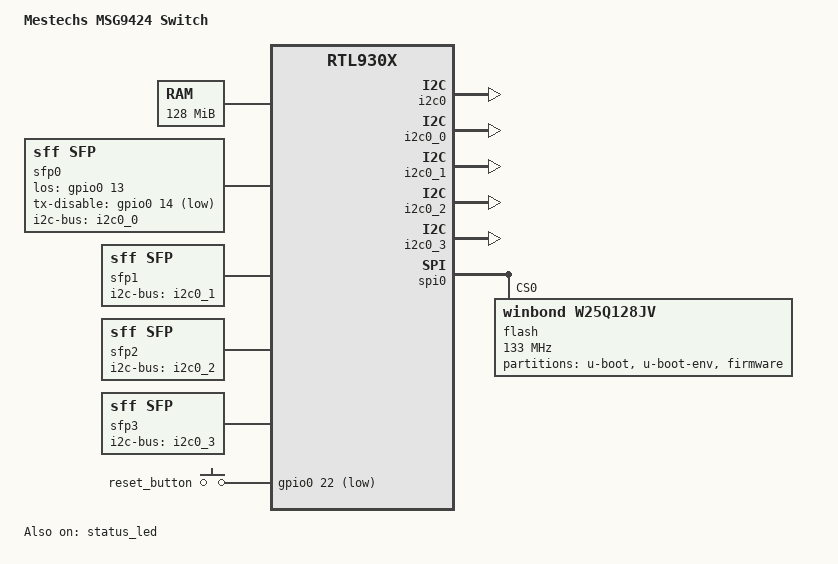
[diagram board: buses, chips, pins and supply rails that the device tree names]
// SPDX-License-Identifier: (GPL-2.0-or-later OR MIT)

/dts-v1/;

#include <dt-bindings/gpio/gpio.h>
#include <dt-bindings/leds/leds-realtek.h>

#include "rtl9301.dtsi"
#include "rtl9301_common_24p.dtsi"

/ {
	compatible = "mestechs,msg9424", "realtek,rtl9301-soc", "realtek,rtl930x-soc";
	model = "Mestechs MSG9424 Switch";

	led_set {
		compatible = "realtek,rtl9301-leds", "realtek,rtl930x-leds";

		led_set0 = /bits/ 16 <
			/* LED0 */
			(
				RTL93XX_LED_SET_LINK_ACTIVITY |
				RTL93XX_LED_SET_LINK_UP_SOLID |
				RTL93XX_LED_SET_2P_1G_LINK |
				RTL93XX_LED_SET_1000M_LINK |
				RTL93XX_LED_SET_500M_LINK |
				RTL93XX_LED_SET_100M_LINK |
				RTL93XX_LED_SET_10M_LINK
			)
			/* LED1 */
			RTL93XX_LED_SET_NONE
			/* LED2 */
			RTL93XX_LED_SET_NONE
			/* LED3 */
			RTL93XX_LED_SET_NONE
		>;
		led_set1 = /bits/ 16 <
			/* LED0 */
			(
				RTL93XX_LED_SET_LINK_ACTIVITY |
				RTL93XX_LED_SET_LINK_UP_SOLID |
				RTL93XX_LED_SET_10G_LINK |
				RTL93XX_LED_SET_1000M_LINK
			)
			/* LED1 */
			RTL93XX_LED_SET_NONE
			/* LED2 */
			RTL93XX_LED_SET_NONE
			/* LED3 */
			RTL93XX_LED_SET_NONE
		>;
	};

	memory@0 {
		reg = <0x0 0x8000000>; /* 128 MiB */
		device_type = "memory";
	};

	sfp0: sfp0 {
		compatible = "sff,sfp";
		i2c-bus = <&i2c0_0>;
		los-gpios = <&gpio0 13 GPIO_ACTIVE_HIGH>;
		tx-disable-gpios = <&gpio0 14 GPIO_ACTIVE_LOW>;
	};

	sfp1: sfp1 {
		compatible = "sff,sfp";
		i2c-bus = <&i2c0_1>;
//		los-gpios = <&gpio0 15 GPIO_ACTIVE_HIGH>;
//		tx-disable-gpios = <&gpio0 16 GPIO_ACTIVE_LOW>;
	};

	sfp2: sfp2 {
		compatible = "sff,sfp";
		i2c-bus = <&i2c0_2>;
//		los-gpios = <&gpio0 17 GPIO_ACTIVE_HIGH>;
//		tx-disable-gpios = <&gpio0 18 GPIO_ACTIVE_LOW>;
	};

	sfp3: sfp3 {
		compatible = "sff,sfp";
		i2c-bus = <&i2c0_3>;
//		los-gpios = <&gpio0 19 GPIO_ACTIVE_HIGH>;
//		tx-disable-gpios = <&gpio0 20 GPIO_ACTIVE_LOW>;
	};
};

&i2c0 {
	status = "okay";
};

&i2c0_0 {
	status = "okay";
};

&i2c0_1 {
	status = "okay";
};

&i2c0_2 {
	status = "okay";
};

&i2c0_3 {
	status = "okay";
};

&reset_button {
	gpios = <&gpio0 22 GPIO_ACTIVE_LOW>;

	status = "okay";
};

&spi0 {
	status = "okay";

	flash@0 {
		reg = <0>;
		compatible = "winbond,w25q128jv", "jedec,spi-nor";
		spi-max-frequency = <133000000>;

		partitions: partitions {
			compatible = "fixed-partitions";
			#address-cells = <1>;
			#size-cells = <1>;

			partition@0 {
				reg = <0x0 0xe0000>;
				label = "u-boot";
				read-only;
			};

			partition@e0000 {
				reg = <0xe0000 0x10000>;
				label = "u-boot-env";
			};

			partition@f0000 {
				reg = <0xf0000 0xf10000>;
				compatible = "openwrt,uimage", "denx,uimage";
				label = "firmware";
				openwrt,ih-magic = <0x93000000>;
			};
		};
	};
};

&status_led {
	status = "okay";
};

&switch0 {
	switch0_ports: ports {
		#address-cells = <1>;
		#size-cells = <0>;

		port@0 {
			reg = <0>;
			label = "lan1";
			led-num = <(
				RTL93XX_LED_NUM0 /* Lime */
			)>;
			led-set = <0>;
			phy-handle = <&phy0>;
			phy-mode = "qsgmii";
		};

		port@1 {
			reg = <1>;
			label = "lan2";
			led-num = <(
				RTL93XX_LED_NUM0 /* Lime */
			)>;
			led-set = <0>;
			phy-handle = <&phy1>;
			phy-mode = "qsgmii";
		};

		port@2 {
			reg = <2>;
			label = "lan3";
			led-num = <(
				RTL93XX_LED_NUM0 /* Lime */
			)>;
			led-set = <0>;
			phy-handle = <&phy2>;
			phy-mode = "qsgmii";
		};

		port@3 {
			reg = <3>;
			label = "lan4";
			led-num = <(
				RTL93XX_LED_NUM0 /* Lime */
			)>;
			led-set = <0>;
			phy-handle = <&phy3>;
			phy-mode = "qsgmii";
		};

		port@4 {
			reg = <4>;
			label = "lan5";
			led-num = <(
				RTL93XX_LED_NUM0 /* Lime */
			)>;
			led-set = <0>;
			phy-handle = <&phy4>;
			phy-mode = "qsgmii";
		};

		port@5 {
			reg = <5>;
			label = "lan6";
			led-num = <(
				RTL93XX_LED_NUM0 /* Lime */
			)>;
			led-set = <0>;
			phy-handle = <&phy5>;
			phy-mode = "qsgmii";
		};

		port@6 {
			reg = <6>;
			label = "lan7";
			led-num = <(
				RTL93XX_LED_NUM0 /* Lime */
			)>;
			led-set = <0>;
			phy-handle = <&phy6>;
			phy-mode = "qsgmii";
		};

		port@7 {
			reg = <7>;
			label = "lan8";
			led-num = <(
				RTL93XX_LED_NUM0 /* Lime */
			)>;
			led-set = <0>;
			phy-handle = <&phy7>;
			phy-mode = "qsgmii";
		};

		port@8 {
			reg = <8>;
			label = "lan9";
			led-num = <(
				RTL93XX_LED_NUM0 /* Lime */
			)>;
			led-set = <0>;
			phy-handle = <&phy8>;
			phy-mode = "xgmii";
		};

		port@9 {
			reg = <9>;
			label = "lan10";
			led-num = <(
				RTL93XX_LED_NUM0 /* Lime */
			)>;
			led-set = <0>;
			phy-handle = <&phy9>;
			phy-mode = "xgmii";
		};

		port@10 {
			reg = <10>;
			label = "lan11";
			led-num = <(
				RTL93XX_LED_NUM0 /* Lime */
			)>;
			led-set = <0>;
			phy-handle = <&phy10>;
			phy-mode = "xgmii";
		};

		port@11 {
			reg = <11>;
			label = "lan12";
			led-num = <(
				RTL93XX_LED_NUM0 /* Lime */
			)>;
			led-set = <0>;
			phy-handle = <&phy11>;
			phy-mode = "xgmii";
		};

		port@12 {
			reg = <12>;
			label = "lan13";
			led-num = <(
				RTL93XX_LED_NUM0 /* Lime */
			)>;
			led-set = <0>;
			phy-handle = <&phy12>;
			phy-mode = "xgmii";
		};

		port@13 {
			reg = <13>;
			label = "lan14";
			led-num = <(
				RTL93XX_LED_NUM0 /* Lime */
			)>;
			led-set = <0>;
			phy-handle = <&phy13>;
			phy-mode = "xgmii";
		};

		port@14 {
			reg = <14>;
			label = "lan15";
			led-num = <(
				RTL93XX_LED_NUM0 /* Lime */
			)>;
			led-set = <0>;
			phy-handle = <&phy14>;
			phy-mode = "xgmii";
		};

		port@15 {
			reg = <15>;
			label = "lan16";
			led-num = <(
				RTL93XX_LED_NUM0 /* Lime */
			)>;
			led-set = <0>;
			phy-handle = <&phy15>;
			phy-mode = "xgmii";
		};

		port@16 {
			reg = <16>;
			label = "lan17";
			led-num = <(
				RTL93XX_LED_NUM0 /* Lime */
			)>;
			led-set = <0>;
			phy-handle = <&phy16>;
			phy-mode = "xgmii";
		};

		port@17 {
			reg = <17>;
			label = "lan18";
			led-num = <(
				RTL93XX_LED_NUM0 /* Lime */
			)>;
			led-set = <0>;
			phy-handle = <&phy17>;
			phy-mode = "xgmii";
		};

		port@18 {
			reg = <18>;
			label = "lan19";
			led-num = <(
				RTL93XX_LED_NUM0 /* Lime */
			)>;
			led-set = <0>;
			phy-handle = <&phy18>;
			phy-mode = "xgmii";
		};

		port@19 {
			reg = <19>;
			label = "lan20";
			led-set = <0>;
			led-num = <(
				RTL93XX_LED_NUM0 /* Lime */
			)>;
			phy-handle = <&phy19>;
			phy-mode = "xgmii";
		};

		port@20 {
			reg = <20>;
			label = "lan21";
			led-num = <(
				RTL93XX_LED_NUM0 /* Lime */
			)>;
			led-set = <0>;
			phy-handle = <&phy20>;
			phy-mode = "xgmii";
		};

		port@21 {
			reg = <21>;
			label = "lan22";
			led-num = <(
				RTL93XX_LED_NUM0 /* Lime */
			)>;
			led-set = <0>;
			phy-handle = <&phy21>;
			phy-mode = "xgmii";
		};

		port@22 {
			reg = <22>;
			label = "lan23";
			led-num = <(
				RTL93XX_LED_NUM0 /* Lime */
			)>;
			led-set = <0>;
			phy-handle = <&phy22>;
			phy-mode = "xgmii";
		};

		port@23 {
			reg = <23>;
			label = "lan24";
			led-num = <(
				RTL93XX_LED_NUM0 /* Lime */
			)>;
			led-set = <0>;
			phy-handle = <&phy23>;
			phy-mode = "xgmii";
		};

		port@24 {
			reg = <24>;
			label = "lan25";
			led-num = <(
				RTL93XX_LED_NUM0 /* Lime */
			)>;
			led-set = <1>;
			phy-handle = <&phy24>;
			phy-mode = "10gbase-r";
			managed = "in-band-status";
			sfp = <&sfp0>;
		};

		port@25 {
			reg = <25>;
			label = "lan26";
			led-num = <(
				RTL93XX_LED_NUM0 /* Lime */
			)>;
			led-set = <1>;
			phy-handle = <&phy25>;
			phy-mode = "10gbase-r";
			managed = "in-band-status";
			sfp = <&sfp1>;
		};

		port@26 {
			reg = <26>;
			label = "lan27";
			led-num = <(
				RTL93XX_LED_NUM0 /* Lime */
			)>;
			led-set = <1>;
			phy-handle = <&phy26>;
			phy-mode = "10gbase-r";
			managed = "in-band-status";
			sfp = <&sfp2>;
		};

		port@27 {
			reg = <27>;
			label = "lan28";
			led-num = <(
				RTL93XX_LED_NUM0 /* Lime */
			)>;
			led-set = <1>;
			phy-handle = <&phy27>;
			phy-mode = "10gbase-r";
			managed = "in-band-status";
			sfp = <&sfp3>;
		};

		/* Internal SoC <-> Switch ethernet connection */
		port@28 {
			reg = <28>;
			ethernet = <&ethernet0>;
			phy-mode = "internal";
			fixed-link {
				speed = <1000>;
				full-duplex;
			};
		};
	};
};
